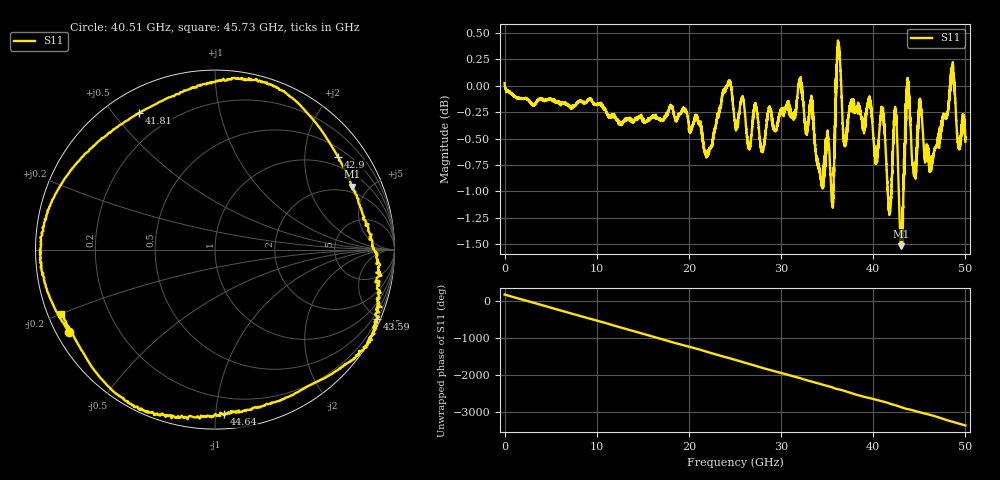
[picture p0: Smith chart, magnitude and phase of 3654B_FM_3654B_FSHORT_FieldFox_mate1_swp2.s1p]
!Created with skrf (http://scikit-rf.org).
# Hz S RI R 50.0
!freq ReS11 ImS11
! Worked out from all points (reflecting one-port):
!   10000 points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, 5.3 MHz to 50 GHz, reference 50 ohm
!   lowest |S11| = -1.5 dB at 43.02 GHz (marker M1), VSWR 11.46, Z = 82.7 + j196 ohm
!   phase of S11 starts at 180 deg and turns -3530 deg over the sweep
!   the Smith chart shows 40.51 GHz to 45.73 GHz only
!   S11 on the Smith chart (normalised r, x): 40.51 GHz: 0.04, -0.26; 41.81 GHz: 0.09, +0.59; 42.9 GHz: 0.72, +2.83; 43.59 GHz: 0.25, -4.88; 44.64 GHz: 0.09, -1.05; 45.73 GHz: 0.04, -0.20
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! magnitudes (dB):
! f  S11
! 5.3 MHz  0.0
! 6.255 GHz  -0.2
! 12.51 GHz  -0.4
! 18.76 GHz  -0.3
! 21.98 GHz  -0.7
! 24.33 GHz  0.0
! 25.01 GHz  -0.4
! 31.26 GHz  -0.3
! 32.1 GHz  0.0
! 35.52 GHz  -1.1
! 36.19 GHz  0.4
! 36.89 GHz  -0.6
! 37.51 GHz  -0.2
! 39.58 GHz  -0.1
! 40.51 GHz  -0.6
! 41.05 GHz  -0.3
! 41.81 GHz  -1.2
! 42.41 GHz  -0.2
! 42.9 GHz  -1.3
! 43.02 GHz  -1.5
! 43.59 GHz  -0.2
! 43.76 GHz  0.0
! 44.64 GHz  -0.7
! 45.09 GHz  -0.1
! 45.73 GHz  -0.6
! 48.56 GHz  0.2
! 49.26 GHz  -0.6
! 50 GHz  -0.5
